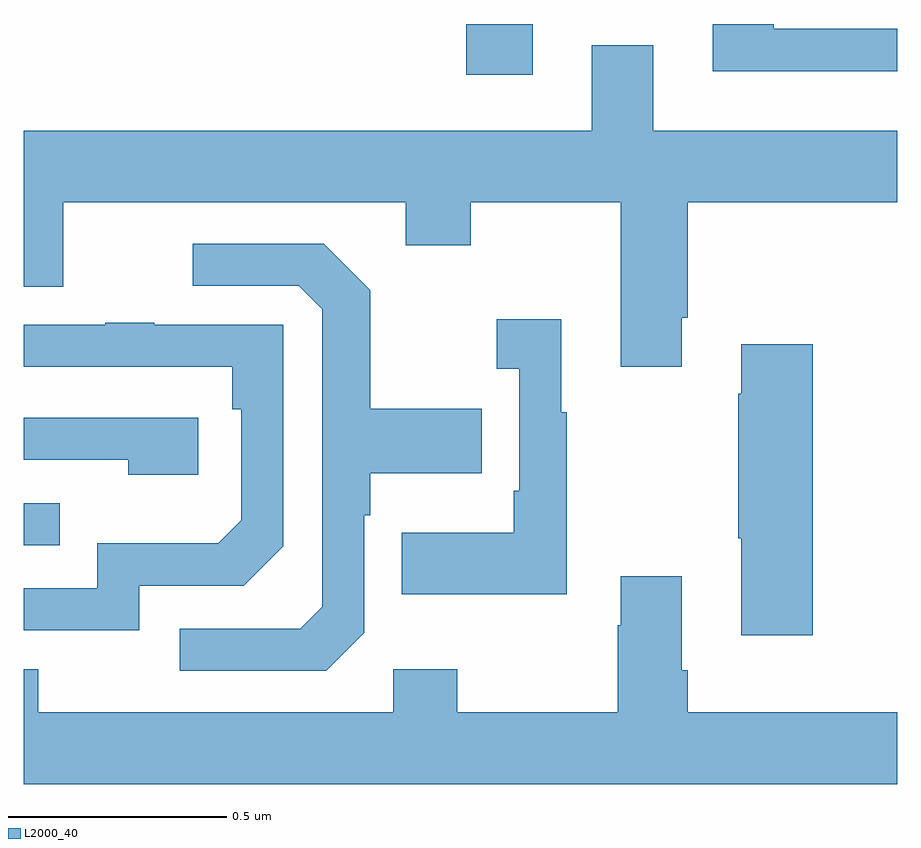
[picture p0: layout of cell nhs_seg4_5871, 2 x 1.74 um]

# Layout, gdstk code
import gdstk
lib = gdstk.Library(unit=1e-6, precision=1e-09)
def R(c, l, rs):  # rectangles x0, y0, x1, y1
    for r in rs: c.add(gdstk.rectangle(r[:2], r[2:], *l))
def P(c, l, *ps):  # polygons
    for p in ps: c.add(gdstk.Polygon(p, *l))
L2000_40 = (2000, 40)

nhs_seg4_5871 = lib.new_cell('nhs_seg4_5871')
R(nhs_seg4_5871, L2000_40, [(183,790.707,183.083,790.803), (184.013,791.784,184.165,791.9)])
P(nhs_seg4_5871, L2000_40, [(185,791.889),(184.717,791.889),(184.717,791.9),(184.577,791.9),(184.577,791.792),(185,791.792)],
  [(184.507,791.227),(184.52,791.227),(184.52,791.492),(185,791.492),(185,791.656),(184.441,791.656),(184.441,791.851),(184.301,791.851),(184.301,791.656),(183,791.656),(183,791.298),(183.091,791.298),(183.091,791.492),(183.875,791.492),(183.875,791.393),(184.023,791.393),(184.023,791.492),(184.367,791.492),(184.367,791.115),(184.507,791.115)],
  [(183.78,790.506),(183.78,790.775),(183.793,790.775),(183.793,790.871),(184.049,790.871),(184.049,791.019),(183.793,791.019),(183.793,791.291),(183.687,791.397),(183.387,791.397),(183.387,791.301),(183.63,791.301),(183.684,791.247),(183.684,790.566),(183.633,790.515),(183.357,790.515),(183.357,790.419),(183.693,790.419)],
  [(184.243,791.011),(184.231,791.011),(184.231,791.224),(184.083,791.224),(184.083,791.111),(184.134,791.111),(184.134,790.831),(184.122,790.831),(184.122,790.735),(183.865,790.735),(183.865,790.595),(184.243,790.595)],
  [(183.264,790.614),(183.504,790.614),(183.594,790.704),(183.594,791.211),(183.299,791.211),(183.299,791.216),(183.187,791.216),(183.187,791.211),(183,791.211),(183,791.115),(183.478,791.115),(183.478,791.018),(183.498,791.018),(183.498,790.764),(183.445,790.711),(183.168,790.711),(183.168,790.608),(183,790.608),(183,790.512),(183.264,790.512)],
  [(184.806,791.167),(184.643,791.167),(184.643,791.054),(184.636,791.054),(184.636,790.723),(184.643,790.723),(184.643,790.5),(184.806,790.5)],
  [(183.4,790.998),(183,790.998),(183,790.902),(183.239,790.902),(183.239,790.868),(183.4,790.868)],
  [(185,790.324),(184.52,790.324),(184.52,790.42),(184.507,790.42),(184.507,790.636),(184.367,790.636),(184.367,790.523),(184.36,790.523),(184.36,790.324),(183.993,790.324),(183.993,790.423),(183.846,790.423),(183.846,790.324),(183.033,790.324),(183.033,790.423),(183,790.423),(183,790.16),(185,790.16)])

lib.write_gds('nhs_seg4_5871.gds')
